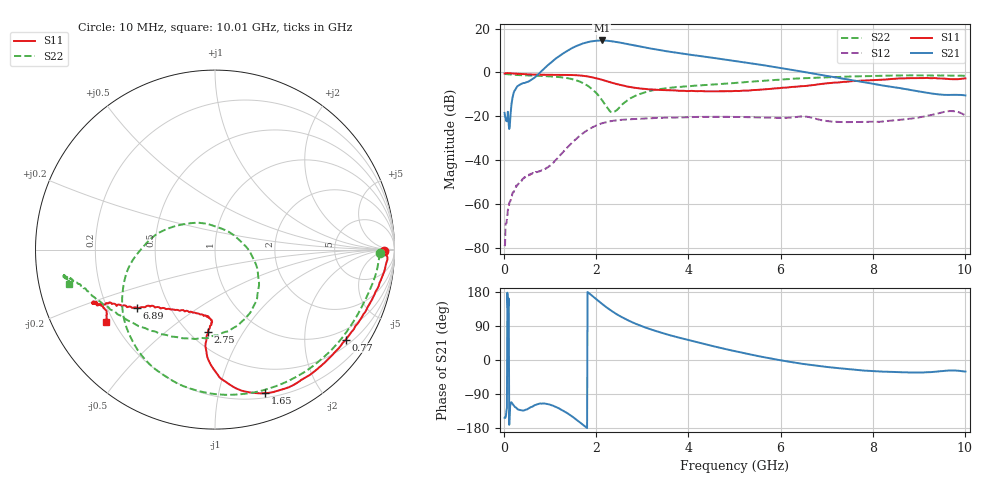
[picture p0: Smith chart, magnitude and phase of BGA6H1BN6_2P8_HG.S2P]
!Agilent Technologies,E5071C,MY46317100,A.11.08
!Date: Wed Jun 03 12:54:04 2015
!Data & Calibration Information:
!Freq	S11:SOLT2(ON)	S21:SOLT2(ON)	S12:SOLT2(ON)	S22:SOLT2(ON)
!PortZ  Port1:50+j0  Port2:50+j0
!Above PortZ is port z conversion or system Z0 setting when saving the data.
!When reading, reference impedance value at option line is always used.
# Hz S RI R 50
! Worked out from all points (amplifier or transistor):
!   1001 points, 10 MHz to 10.01 GHz, reference 50 ohm
!   highest |S21| = 14.6 dB at 2.12 GHz (marker M1)
!   |S21| within 3 dB of that: 1.521 GHz to 3.005 GHz (1.484 GHz wide, 65.6 % of centre)
!   unconditionally stable (mu >= 1): start of sweep to end of sweep
!   at 1.67 GHz: K = 1.13, MAG = 18.5 dB, |S12| = -28.4 dB
!   at 5.01 GHz: K = 1.61, MAG = 8.2 dB, |S12| = -20.4 dB
!   at 10.01 GHz: K = 1.81, MAG = -0.7 dB, |S12| = -19.6 dB
!   lowest NFmin = 0.60 dB at 1.8 GHz
!   S11 on the Smith chart (normalised r, x): 10 MHz: 33, -5; 770 MHz: 0.67, -3.08; 1.65 GHz: 0.24, -1.38; 2.75 GHz: 0.61, -0.71; 6.89 GHz: 0.33, -0.30; 10.01 GHz: 0.17, -0.29
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1e7  0.9425 -0.00776  -0.1053 -0.0552  -8.31e-05 6.81e-05  0.9167 -0.0188
1e8  0.9531 -0.0784  -0.0593 0.0192  -6.14e-05 0.000818  0.8844 -0.171
2.3e8  0.9159 -0.1879  -0.2133 -0.3225  -0.000234 0.00209  0.8066 -0.3409
7.7e8  0.7288 -0.502  -0.4082 -0.8748  -0.00151 0.0053  0.3045 -0.7728
1.06e9  0.6136 -0.6274  -0.9321 -1.58  -0.00602 0.006  -0.0268 -0.8013
1.33e9  0.4812 -0.7255  -2.15 -1.983  -0.0146 0.00931  -0.3199 -0.6755
1.49e9  0.3913 -0.7739  -3.167 -1.817  -0.0215 0.0143  -0.4507 -0.5262
1.65e9  0.2795 -0.8  -4.177 -1.131  -0.028 0.0232  -0.5162 -0.3252
1.68e9  0.2585 -0.8008  -4.346 -0.9519  -0.0291 0.0253  -0.5176 -0.2844
1.9e9  0.1058 -0.7668  -5.037 0.8711  -0.0321 0.0441  -0.4192 -0.00664
2.12e9  0.00215 -0.6789  -4.561 2.795  -0.0253 0.0637  -0.1886 0.1388
2.26e9  -0.038 -0.6121  -3.742 3.669  -0.0169 0.073  -0.035 0.1406
2.4e9  -0.0508 -0.5519  -2.807 4.15  -0.00725 0.079  0.09 0.0906
2.75e9  -0.0381 -0.457  -0.8329 4.207  0.0134 0.0842  0.2361 -0.1077
3e9  -0.0249 -0.4231  0.095 3.794  0.0243 0.0843  0.2383 -0.2351
3.35e9  -0.0191 -0.3976  0.8883 3.138  0.0371 0.0831  0.1825 -0.3677
4.15e9  -0.0501 -0.3678  1.627 1.815  0.0572 0.077  -0.0557 -0.4941
5.01e9  -0.1441 -0.3483  1.67 0.7223  0.0699 0.0655  -0.3485 -0.454
6.68e9  -0.392 -0.3209  0.9225 -0.22  0.0814 0.0429  -0.7112 -0.231
6.89e9  -0.4354 -0.3236  0.8341 -0.2524  0.0715 0.0378  -0.7321 -0.2141
8.35e9  -0.6269 -0.3088  0.4077 -0.2453  0.049 0.0609  -0.8256 -0.1541
1.001e10  -0.6069 -0.4014  0.2561 -0.1509  0.0878 0.0579  -0.8162 -0.1909
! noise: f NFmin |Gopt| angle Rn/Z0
1.8e+09  0.6001  0.6047  54.98  0.1701
1.9e+09  0.6377  0.5985  57.92  0.1705
2e+09  0.6567  0.574  59.59  0.1702
2.1e+09  0.6746  0.5539  60.68  0.1766
2.2e+09  0.6945  0.5401  63.34  0.1755
2.3e+09  0.7094  0.5365  66.29  0.1648
2.4e+09  0.7238  0.5314  68.62  0.1634
2.5e+09  0.7322  0.5225  70.31  0.1623
2.6e+09  0.7457  0.5198  72.18  0.1547
2.7e+09  0.7593  0.512  73.92  0.1587
